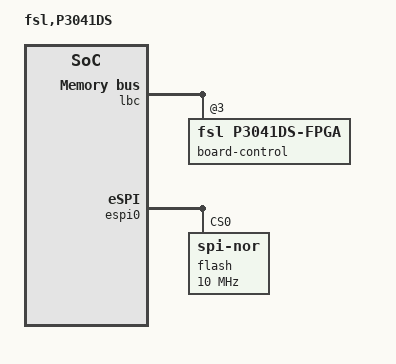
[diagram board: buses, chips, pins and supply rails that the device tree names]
// SPDX-License-Identifier: GPL-2.0+ OR X11
/*
 * P3041DS Device Tree Source
 *
 * Copyright 2010 - 2015 Freescale Semiconductor Inc.
 * Copyright 2019-2020 NXP
 */

/include/ "p3041.dtsi"

/ {
	model = "fsl,P3041DS";
	compatible = "fsl,P3041DS";
	#address-cells = <2>;
	#size-cells = <2>;
	interrupt-parent = <&mpic>;

	aliases{
		phy_rgmii_0 = &phy_rgmii_0;
		phy_rgmii_1 = &phy_rgmii_1;
		phy_sgmii_1c = &phy_sgmii_1c;
		phy_sgmii_1d = &phy_sgmii_1d;
		phy_sgmii_1e = &phy_sgmii_1e;
		phy_sgmii_1f = &phy_sgmii_1f;
		phy_xgmii_1 = &phy_xgmii_1;
		phy_xgmii_2 = &phy_xgmii_2;
		emi1_rgmii = &hydra_mdio_rgmii;
		emi1_sgmii = &hydra_mdio_sgmii;
		emi2_xgmii = &hydra_mdio_xgmii;
		spi0 = &espi0;
	};

	soc: soc@ffe000000 {
		ranges = <0x00000000 0xf 0xfe000000 0x1000000>;
		reg = <0xf 0xfe000000 0 0x00001000>;
		fman@400000{
			ethernet@e0000 {
				phy-handle = <&phy_sgmii_1c>;
				phy-connection-type = "sgmii";
			};

			ethernet@e2000 {
				phy-handle = <&phy_sgmii_1d>;
				phy-connection-type = "sgmii";
			};

			ethernet@e4000 {
				phy-handle = <&phy_sgmii_1e>;
				phy-connection-type = "sgmii";
			};

			ethernet@e6000 {
				phy-handle = <&phy_sgmii_1f>;
				phy-connection-type = "sgmii";
			};

			ethernet@e8000 {
				phy-handle = <&phy_rgmii_1>;
				phy-connection-type = "rgmii";
			};

			ethernet@f0000 {
				phy-handle = <&phy_xgmii_1>;
				phy-connection-type = "xgmii";
			};

			hydra_mdio_xgmii: mdio@f1000 {
				status = "disabled";

				phy_xgmii_1: ethernet-phy@4 {
					compatible = "ethernet-phy-ieee802.3-c45";
					reg = <0x4>;
				};

				phy_xgmii_2: ethernet-phy@0 {
					compatible = "ethernet-phy-ieee802.3-c45";
					reg = <0x0>;
				};
			};
		};
	};

	lbc: localbus@ffe124000 {
		reg = <0xf 0xfe124000 0 0x1000>;
		ranges = <0 0 0xf 0xe8000000 0x08000000
			  2 0 0xf 0xffa00000 0x00040000
			  3 0 0xf 0xffdf0000 0x00008000>;

		board-control@3,0 {
			#address-cells = <1>;
			#size-cells = <1>;
			compatible = "fsl,p3041ds-fpga", "fsl,fpga-ngpixis";
			reg = <3 0 0x30>;
			ranges = <0 3 0 0x30>;

			mdio-mux-emi1 {
				#address-cells = <1>;
				#size-cells = <0>;
				compatible = "mdio-mux-mmioreg", "mdio-mux";
				mdio-parent-bus = <&mdio0>;
				reg = <9 1>;
				mux-mask = <0x78>;

				hydra_mdio_rgmii: rgmii-mdio@8 {
					#address-cells = <1>;
					#size-cells = <0>;
					reg = <8>;
					status = "disabled";

					phy_rgmii_0: ethernet-phy@0 {
						reg = <0x0>;
					};

					phy_rgmii_1: ethernet-phy@1 {
						reg = <0x1>;
					};
				};

				hydra_mdio_sgmii: sgmii-mdio@28 {
					#address-cells = <1>;
					#size-cells = <0>;
					reg = <0x28>;
					status = "disabled";

					phy_sgmii_1c: ethernet-phy@1c {
						reg = <0x1c>;
					};

					phy_sgmii_1d: ethernet-phy@1d {
						reg = <0x1d>;
					};

					phy_sgmii_1e: ethernet-phy@1e {
						reg = <0x1e>;
					};

					phy_sgmii_1f: ethernet-phy@1f {
						reg = <0x1f>;
					};
				};
			};
		};
	};
};

&espi0 {
	status = "okay";
	flash@0 {
		compatible = "jedec,spi-nor";
		#address-cells = <1>;
		#size-cells = <1>;
		reg = <0>;
		/* input clock */
		spi-max-frequency = <10000000>;
	};
};

/include/ "p3041si-post.dtsi"
